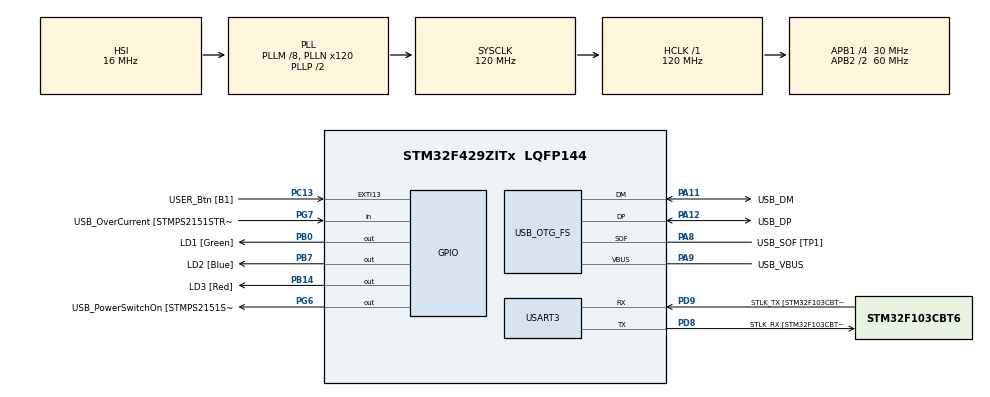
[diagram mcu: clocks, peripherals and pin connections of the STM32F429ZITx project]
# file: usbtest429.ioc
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Mcu.Family=STM32F4
Mcu.Name=STM32F429ZITx
Mcu.Package=LQFP144
NVIC.EXTI15_10_IRQn=true\:0\:0\:false\:false\:true\:true\:true\:true
NVIC.OTG_FS_IRQn=true\:0\:0\:false\:false\:true\:false\:true\:true
NVIC.PriorityGroup=NVIC_PRIORITYGROUP_4
PA1.GPIO_Label=RMII_REF_CLK [LAN8742A-CZ-TR_REFCLK0]
PA1.Signal=ETH_REF_CLK
PA10.GPIO_Label=USB_ID
PA10.Signal=USB_OTG_FS_ID
PA11.GPIO_Label=USB_DM
PA11.Mode=Host_Only
PA11.Signal=USB_OTG_FS_DM
PA12.GPIO_Label=USB_DP
PA12.Mode=Host_Only
PA12.Signal=USB_OTG_FS_DP
PA13.GPIO_Label=TMS
PA13.Mode=Serial_Wire
PA13.Signal=SYS_JTMS-SWDIO
PA14.GPIO_Label=TCK
PA14.Mode=Serial_Wire
PA14.Signal=SYS_JTCK-SWCLK
PA2.GPIO_Label=RMII_MDIO [LAN8742A-CZ-TR_MDIO]
PA2.Signal=ETH_MDIO
PA7.GPIO_Label=RMII_CRS_DV [LAN8742A-CZ-TR_CRS_DV]
PA7.Signal=ETH_CRS_DV
PA8.GPIO_Label=USB_SOF [TP1]
PA8.Mode=Activate_SOF_FS
PA8.Signal=USB_OTG_FS_SOF
PA9.GPIO_Label=USB_VBUS
PA9.Mode=Activate_VBUS
PA9.Signal=USB_OTG_FS_VBUS
PB0.GPIO_Label=LD1 [Green]
PB0.Signal=GPIO_Output
PB13.GPIO_Label=RMII_TXD1 [LAN8742A-CZ-TR_TXD1]
PB13.Signal=ETH_TXD1
PB14.GPIO_Label=LD3 [Red]
PB14.Signal=GPIO_Output
PB7.GPIO_Label=LD2 [Blue]
PB7.Signal=GPIO_Output
PC1.GPIO_Label=RMII_MDC [LAN8742A-CZ-TR_MDC]
PC1.Signal=ETH_MDC
PC13.GPIO_Label=USER_Btn [B1]
PC13.Signal=GPXTI13
PC14/OSC32_IN.Mode=LSE-External-Oscillator
PC14/OSC32_IN.Signal=RCC_OSC32_IN
PC15/OSC32_OUT.Mode=LSE-External-Oscillator
PC15/OSC32_OUT.Signal=RCC_OSC32_OUT
PC4.GPIO_Label=RMII_RXD0 [LAN8742A-CZ-TR_RXD0]
PC4.Signal=ETH_RXD0
PC5.GPIO_Label=RMII_RXD1 [LAN8742A-CZ-TR_RXD1]
PC5.Signal=ETH_RXD1
PD8.GPIO_Label=STLK_RX [STM32F103CBT6_PA3]
PD8.Mode=Asynchronous
PD8.Signal=USART3_TX
PD9.GPIO_Label=STLK_TX [STM32F103CBT6_PA2]
PD9.Mode=Asynchronous
PD9.Signal=USART3_RX
PG11.GPIO_Label=RMII_TX_EN [LAN8742A-CZ-TR_TXEN]
PG11.Signal=ETH_TX_EN
PG13.GPIO_Label=RMII_TXD0 [LAN8742A-CZ-TR_TXD0]
PG13.Signal=ETH_TXD0
PG6.GPIO_Label=USB_PowerSwitchOn [STMPS2151STR_EN]
PG6.Signal=GPIO_Output
PG7.GPIO_Label=USB_OverCurrent [STMPS2151STR_FAULT]
PG7.Signal=GPIO_Input
PH0/OSC_IN.GPIO_Label=MCO [STM32F103CBT6_PA8]
PH0/OSC_IN.Mode=HSE-External-Clock-Source
PH0/OSC_IN.Signal=RCC_OSC_IN
PH1/OSC_OUT.Mode=HSE-External-Clock-Source
PH1/OSC_OUT.Signal=RCC_OSC_OUT
ProjectManager.HeapSize=0x200
ProjectManager.StackSize=0x400
ProjectManager.TargetToolchain=STM32CubeIDE
RCC.48MHZClocksFreq_Value=48000000
RCC.AHBFreq_Value=120000000
RCC.APB1CLKDivider=RCC_HCLK_DIV4
RCC.APB1Freq_Value=30000000
RCC.APB1TimFreq_Value=60000000
RCC.APB2CLKDivider=RCC_HCLK_DIV2
RCC.APB2Freq_Value=60000000
RCC.APB2TimCLKDivider=2
RCC.APB2TimFreq_Value=120000000
RCC.CortexFreq_Value=120000000
RCC.HCLKFreq_Value=120000000
RCC.HSE_VALUE=8000000
RCC.HSI_VALUE=16000000
RCC.PLLM=8
RCC.PLLMUL=RCC_PLL_MUL9
RCC.PLLN=120
RCC.PLLQ=5
RCC.PLLSource=RCC_PLLSOURCE_HSI
RCC.PLLSourceVirtualString=RCC_PLLSOURCE_HSI
RCC.PRESCALERUSB=RCC_USBCLKSOURCE_PLL_DIV1_5
RCC.SYSCLKFreq_VALUE=120000000
RCC.SYSCLKSource=RCC_SYSCLKSOURCE_PLLCLK
RCC.SYSCLKSourceVirtual=RCC_SYSCLKSOURCE_PLLCLK
RCC.USBFreq_Value=48000000
RCC.VCOOutputFreq_Value=240000000
USART3.VirtualMode=VM_ASYNC
USB_HOST.BSP.number=1
USB_HOST.USBH_DEBUG_LEVEL-CDC_FS=3
USB_HOST.USBH_HandleTypeDef-CDC_FS=hUsbHostFS
USB_HOST.VirtualModeFS=Cdc
USB_HOST0.BSP.STBoard=false
USB_HOST0.BSP.api=Unknown
USB_HOST0.BSP.condition=SW_VBUS_DRIVE_CDC_FS \= false
USB_HOST0.BSP.instance=PG6
USB_HOST0.BSP.ip=GPIO
USB_HOST0.BSP.mode=Output
USB_HOST0.BSP.name=Drive_VBUS_FS
USB_HOST0.BSP.solution=PG6
USB_OTG_FS.Sof_enable=ENABLE
USB_OTG_FS.VirtualMode=Host_Only
USB_OTG_FS.phy_itface=HCD_PHY_EMBEDDED
USB_OTG_FS.speed=HCD_SPEED_LOW
VP_USB_HOST_VS_USB_HOST_CDC_FS.Mode=CDC_FS
board=NUCLEO-F429ZI

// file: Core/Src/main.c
/* USER CODE BEGIN Header */
/**
  ******************************************************************************
  * @file           : main.c
  * @brief          : Main program body
  ******************************************************************************
  * @attention
  *
  * Copyright (c) 2026 STMicroelectronics.
  * All rights reserved.
  *
  * This software is licensed under terms that can be found in the LICENSE file
  * in the root directory of this software component.
  * If no LICENSE file comes with this software, it is provided AS-IS.
  *
  ******************************************************************************
  */
/* USER CODE END Header */
#include "main.h"
#include "usb_host.h"

/* USER CODE BEGIN Includes */
#include "string.h"
#include "usbh_cdc.h"
#include <stdbool.h>
#include "stdio.h"
#include "usbh_conf.h"
/* USER CODE END Includes */

UART_HandleTypeDef huart3;

void SystemClock_Config(void);
static void MX_GPIO_Init(void);
static void MX_USART3_UART_Init(void);
void MX_USB_HOST_Process(void);

/* USER CODE BEGIN 0 */
extern USBH_HandleTypeDef hUsbHostFS;
extern ApplicationTypeDef Appli_state;
CDC_LineCodingTypeDef LineCoding;

const uint16_t chnum=64;
uint8_t CDC_RX_Buffer[5]={0};
uint8_t CDC_TX_Buffer[64];
uint8_t usbresult;
uint8_t sendresult;
uint16_t j =0;
uint8_t CDC_RX_Buffer_Compare[64];
char CDC_RX_Data[2048];
bool flag=0;

typedef enum {
  CDC_STATE_IDLE = 0,
  CDC_SEND,
  CDC_RECEIVE,
}CDC_StateTypedef;

CDC_StateTypedef CDC_STATE = CDC_STATE_IDLE;

uint8_t i=0;

uint8_t int_to_bcd(uint8_t value)
{
    return ((value / 10) << 4) | (value % 10);
}
int bcd_to_int(uint8_t bcd)
{
    return ((bcd >> 4) * 10) + (bcd & 0x0F);
}

void CDC_HANDLE (void)
{

	switch (CDC_STATE)
	{
	case CDC_STATE_IDLE:
	{
		  USBH_CDC_Stop(&hUsbHostFS);
		  if (flag==1){
			  CDC_STATE = CDC_SEND;
		//  }else{
		//	  CDC_STATE = CDC_RECEIVE;
		  }

HAL_Delay(500);
		  break;
	}

	case CDC_RECEIVE:
	{
		  USBH_CDC_Stop(&hUsbHostFS);
		  usbresult = USBH_CDC_Receive(&hUsbHostFS, (uint8_t *) CDC_RX_Buffer, 5);
		  uint8_t INT[5];
		  char buf[10];
		  for(int p=0;p<5;p++){
		  INT[p]=bcd_to_int(CDC_RX_Buffer[p]);//konvertálás
		  }
		  sprintf(buf, " %d%d%d%d\r\n", INT[0],INT[1],INT[2],INT[3]);//itt elhagyjuk a 3-ast és szépen összefűzzük a bullshit számokat egybe
		  int number = atoi(buf);//ez lesz amiből feltételt képzünk, és itt már egy számunk van ami a freki
		  HAL_UART_Transmit(&huart3,(uint8_t *)buf, strlen(buf), 100);// ki a pc felé
		  if (flag==1){
			  CDC_STATE = CDC_SEND;
		  }else{
			  CDC_STATE = CDC_STATE_IDLE;
		  }

		  break;
	}
	case CDC_SEND:
	{
		USBH_CDC_Stop(&hUsbHostFS);
		HAL_Delay (500);
	//	int len = sprintf ((char *)CDC_TX_Buffer, "data\r");
	//	USBH_CDC_Transmit (&hUsbHostFS, CDC_TX_Buffer, len);
		CDC_TX_Buffer[0]=0;
		CDC_TX_Buffer[1]=0;
		CDC_TX_Buffer[2]=0;
		CDC_TX_Buffer[3]=0;
		CDC_TX_Buffer[4]=3;
		USBH_CDC_Transmit (&hUsbHostFS, CDC_TX_Buffer, 5);
		HAL_Delay (100);
	//	for (j=0; j<64; j++){CDC_RX_Buffer[j]=0;}
		CDC_STATE = CDC_RECEIVE;
		flag=0;
	default:
		break;
	}
	}
}
/* USER CODE END 0 */

int main(void)
{

  /* MCU Configuration--------------------------------------------------------*/

  /* Reset of all peripherals, Initializes the Flash interface and the Systick. */
  HAL_Init();

  /* Configure the system clock */
  SystemClock_Config();

  /* Initialize all configured peripherals */
  MX_GPIO_Init();
  MX_USART3_UART_Init();
  MX_USB_HOST_Init();
  /* USER CODE BEGIN 2 */
  uint8_t  Buffer[]= "szeva";
  HAL_UART_Transmit(&huart3,Buffer, sizeof (Buffer), 1000);// ki a pc felé

  printf("Hello ITM \n");
  HAL_GPIO_WritePin(GPIOG, GPIO_PIN_6, 1); //usb power up
  USBH_DbgLog("USBH debug alive");
  LineCoding.b.dwDTERate = 9600;
  LineCoding.b.bCharFormat = 2;
  LineCoding.b.bDataBits = 8;
  LineCoding.b.bParityType = 0;
  USBH_CDC_SetLineCoding(&hUsbHostFS, &LineCoding);
  HAL_Delay(100);
  /* USER CODE END 2 */

  /* Infinite loop */
  /* USER CODE BEGIN WHILE */
  while (1)
  {

	  MX_USB_HOST_Process();
	  if (Appli_state == APPLICATION_READY)
	    {
	    	CDC_HANDLE();
	    }
    /* USER CODE END WHILE */
    MX_USB_HOST_Process();

  }
}

void SystemClock_Config(void)
{
  RCC_OscInitTypeDef RCC_OscInitStruct = {0};
  RCC_ClkInitTypeDef RCC_ClkInitStruct = {0};

  /** Configure the main internal regulator output voltage
  */
  __HAL_RCC_PWR_CLK_ENABLE();
  __HAL_PWR_VOLTAGESCALING_CONFIG(PWR_REGULATOR_VOLTAGE_SCALE3);

  /** Initializes the RCC Oscillators according to the specified parameters
  * in the RCC_OscInitTypeDef structure.
  */
  RCC_OscInitStruct.OscillatorType = RCC_OSCILLATORTYPE_HSI;
  RCC_OscInitStruct.HSIState = RCC_HSI_ON;
  RCC_OscInitStruct.HSICalibrationValue = RCC_HSICALIBRATION_DEFAULT;
  RCC_OscInitStruct.PLL.PLLState = RCC_PLL_ON;
  RCC_OscInitStruct.PLL.PLLSource = RCC_PLLSOURCE_HSI;
  RCC_OscInitStruct.PLL.PLLM = 8;
  RCC_OscInitStruct.PLL.PLLN = 120;
  RCC_OscInitStruct.PLL.PLLP = RCC_PLLP_DIV2;
  RCC_OscInitStruct.PLL.PLLQ = 5;
  if (HAL_RCC_OscConfig(&RCC_OscInitStruct) != HAL_OK)
  {
    Error_Handler();
  }

  /** Initializes the CPU, AHB and APB buses clocks
  */
  RCC_ClkInitStruct.ClockType = RCC_CLOCKTYPE_HCLK|RCC_CLOCKTYPE_SYSCLK
                              |RCC_CLOCKTYPE_PCLK1|RCC_CLOCKTYPE_PCLK2;
  RCC_ClkInitStruct.SYSCLKSource = RCC_SYSCLKSOURCE_PLLCLK;
  RCC_ClkInitStruct.AHBCLKDivider = RCC_SYSCLK_DIV1;
  RCC_ClkInitStruct.APB1CLKDivider = RCC_HCLK_DIV4;
  RCC_ClkInitStruct.APB2CLKDivider = RCC_HCLK_DIV2;

  if (HAL_RCC_ClockConfig(&RCC_ClkInitStruct, FLASH_LATENCY_3) != HAL_OK)
  {
    Error_Handler();
  }
}

static void MX_USART3_UART_Init(void)
{

  huart3.Instance = USART3;
  huart3.Init.BaudRate = 115200;
  huart3.Init.WordLength = UART_WORDLENGTH_8B;
  huart3.Init.StopBits = UART_STOPBITS_1;
  huart3.Init.Parity = UART_PARITY_NONE;
  huart3.Init.Mode = UART_MODE_TX_RX;
  huart3.Init.HwFlowCtl = UART_HWCONTROL_NONE;
  huart3.Init.OverSampling = UART_OVERSAMPLING_16;
  if (HAL_UART_Init(&huart3) != HAL_OK)
  {
    Error_Handler();
  }

}

static void MX_GPIO_Init(void)
{
  GPIO_InitTypeDef GPIO_InitStruct = {0};

  /* GPIO Ports Clock Enable */
  __HAL_RCC_GPIOC_CLK_ENABLE();
  __HAL_RCC_GPIOH_CLK_ENABLE();
  __HAL_RCC_GPIOA_CLK_ENABLE();
  __HAL_RCC_GPIOB_CLK_ENABLE();
  __HAL_RCC_GPIOD_CLK_ENABLE();
  __HAL_RCC_GPIOG_CLK_ENABLE();

  /*Configure GPIO pin Output Level */
  HAL_GPIO_WritePin(GPIOB, LD1_Pin|LD3_Pin|LD2_Pin, GPIO_PIN_RESET);

  /*Configure GPIO pin Output Level */
  HAL_GPIO_WritePin(USB_PowerSwitchOn_GPIO_Port, USB_PowerSwitchOn_Pin, GPIO_PIN_RESET);

  /*Configure GPIO pin : USER_Btn_Pin */
  GPIO_InitStruct.Pin = USER_Btn_Pin;
  GPIO_InitStruct.Mode = GPIO_MODE_IT_RISING;
  GPIO_InitStruct.Pull = GPIO_NOPULL;
  HAL_GPIO_Init(USER_Btn_GPIO_Port, &GPIO_InitStruct);

  /*Configure GPIO pins : RMII_MDC_Pin RMII_RXD0_Pin RMII_RXD1_Pin */
  GPIO_InitStruct.Pin = RMII_MDC_Pin|RMII_RXD0_Pin|RMII_RXD1_Pin;
  GPIO_InitStruct.Mode = GPIO_MODE_AF_PP;
  GPIO_InitStruct.Pull = GPIO_NOPULL;
  GPIO_InitStruct.Speed = GPIO_SPEED_FREQ_VERY_HIGH;
  GPIO_InitStruct.Alternate = GPIO_AF11_ETH;
  HAL_GPIO_Init(GPIOC, &GPIO_InitStruct);

  /*Configure GPIO pins : RMII_REF_CLK_Pin RMII_MDIO_Pin RMII_CRS_DV_Pin */
  GPIO_InitStruct.Pin = RMII_REF_CLK_Pin|RMII_MDIO_Pin|RMII_CRS_DV_Pin;
  GPIO_InitStruct.Mode = GPIO_MODE_AF_PP;
  GPIO_InitStruct.Pull = GPIO_NOPULL;
  GPIO_InitStruct.Speed = GPIO_SPEED_FREQ_VERY_HIGH;
  GPIO_InitStruct.Alternate = GPIO_AF11_ETH;
  HAL_GPIO_Init(GPIOA, &GPIO_InitStruct);

  /*Configure GPIO pins : LD1_Pin LD3_Pin LD2_Pin */
  GPIO_InitStruct.Pin = LD1_Pin|LD3_Pin|LD2_Pin;
  GPIO_InitStruct.Mode = GPIO_MODE_OUTPUT_PP;
  GPIO_InitStruct.Pull = GPIO_NOPULL;
  GPIO_InitStruct.Speed = GPIO_SPEED_FREQ_LOW;
  HAL_GPIO_Init(GPIOB, &GPIO_InitStruct);

  /*Configure GPIO pin : RMII_TXD1_Pin */
  GPIO_InitStruct.Pin = RMII_TXD1_Pin;
  GPIO_InitStruct.Mode = GPIO_MODE_AF_PP;
  GPIO_InitStruct.Pull = GPIO_NOPULL;
  GPIO_InitStruct.Speed = GPIO_SPEED_FREQ_VERY_HIGH;
  GPIO_InitStruct.Alternate = GPIO_AF11_ETH;
  HAL_GPIO_Init(RMII_TXD1_GPIO_Port, &GPIO_InitStruct);

  /*Configure GPIO pin : USB_PowerSwitchOn_Pin */
  GPIO_InitStruct.Pin = USB_PowerSwitchOn_Pin;
  GPIO_InitStruct.Mode = GPIO_MODE_OUTPUT_PP;
  GPIO_InitStruct.Pull = GPIO_NOPULL;
  GPIO_InitStruct.Speed = GPIO_SPEED_FREQ_LOW;
  HAL_GPIO_Init(USB_PowerSwitchOn_GPIO_Port, &GPIO_InitStruct);

  /*Configure GPIO pin : USB_OverCurrent_Pin */
  GPIO_InitStruct.Pin = USB_OverCurrent_Pin;
  GPIO_InitStruct.Mode = GPIO_MODE_INPUT;
  GPIO_InitStruct.Pull = GPIO_NOPULL;
  HAL_GPIO_Init(USB_OverCurrent_GPIO_Port, &GPIO_InitStruct);

  /*Configure GPIO pins : RMII_TX_EN_Pin RMII_TXD0_Pin */
  GPIO_InitStruct.Pin = RMII_TX_EN_Pin|RMII_TXD0_Pin;
  GPIO_InitStruct.Mode = GPIO_MODE_AF_PP;
  GPIO_InitStruct.Pull = GPIO_NOPULL;
  GPIO_InitStruct.Speed = GPIO_SPEED_FREQ_VERY_HIGH;
  GPIO_InitStruct.Alternate = GPIO_AF11_ETH;
  HAL_GPIO_Init(GPIOG, &GPIO_InitStruct);

  /* EXTI interrupt init*/
  HAL_NVIC_SetPriority(EXTI15_10_IRQn, 0, 0);
  HAL_NVIC_EnableIRQ(EXTI15_10_IRQn);

}

/* USER CODE BEGIN 4 */
void HAL_GPIO_EXTI_Callback(uint16_t GPIO_Pin)
{//gomb

  if(GPIO_Pin == GPIO_PIN_13) {
	  flag=1;
	 // CDC_STATE = CDC_SEND;

  }}

__attribute__((weak)) int _write(int file, char *ptr, int len)
{
  (void)file;
  int DataIdx;

  for (DataIdx = 0; DataIdx < len; DataIdx++)
  {
    ITM_SendChar(*ptr++);
  }
  return len;
}
/* USER CODE END 4 */

void Error_Handler(void)
{
  __disable_irq();
  while (1)
  {
  }
}
